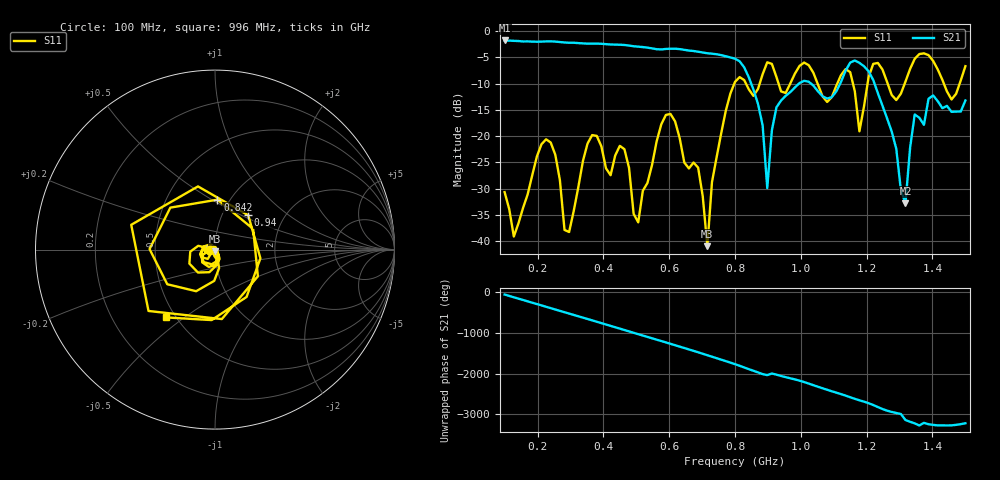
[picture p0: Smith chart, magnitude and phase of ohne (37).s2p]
! NanoVNA-App
! Date: 2025-09-25 14:21:05
! Start: 100MHz Stop: 1,5GHz Points: 101
! S-Parameter data: F S11 S21 S12 S22
# Hz S RI R 50
!  Frequency  S11_Real  S11_Imag  S21_Real  S21_Imag  S12_Real  S12_Imag  S22_Real  S22_Imag
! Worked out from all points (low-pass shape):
!   101 points, 100 MHz to 1.5 GHz, reference 50 ohm
!   highest |S21| = -1.79 dB at 100 MHz (marker M1); lowest = -32.7 dB at 1.318 GHz (marker M2)
!   |S21| within 3 dB of the highest: start of sweep to 771.4 MHz
!   lowest |S11| = -40.9 dB at 716 MHz (marker M3), VSWR 1.02, Z = 49.9 - j0.887 ohm
!   |S11| at or under -10 dB: start of sweep to 797.9 MHz; 833.3 MHz to 875 MHz (41.75 MHz wide, 4.89 % of centre); 1.051 GHz to 1.111 GHz (59.82 MHz wide, 5.53 % of centre) (the widest 3 of 7)
!   S12 and S22 are empty: the file has one direction only
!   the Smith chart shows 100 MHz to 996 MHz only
!   S11 on the Smith chart (normalised r, x): 100 MHz: 0.94, -0.01; 842 MHz: 0.88, +0.53; 940 MHz: 1.33, +0.55; 996 MHz: 0.44, -0.43
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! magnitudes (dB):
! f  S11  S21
! 100 MHz  -30.6  -1.8
! 128 MHz  -39.1  -1.9
! 226 MHz  -20.6  -2.0
! 296 MHz  -38.2  -2.2
! 338 MHz  -24.7  -2.4
! 464 MHz  -22.5  -2.7
! 506 MHz  -36.4  -3.0
! 576 MHz  -17.7  -3.5
! 688 MHz  -26.0  -3.9
! 716 MHz  -40.9  -4.2
! 800 MHz  -9.7  -5.3
! 842 MHz  -11.1  -8.8
! 898 MHz  -5.9  -29.9
! 940 MHz  -11.5  -13.2
! 996 MHz  -6.6  -9.9
! 1.038 GHz  -7.9  -10.4
! 1.178 GHz  -19.1  -6.1
! 1.22 GHz  -6.2  -9.3
! 1.276 GHz  -12.2  -19.1
! 1.318 GHz  -9.6  -32.7
! 1.346 GHz  -5.3  -15.9
! 1.5 GHz  -6.7  -13.2
